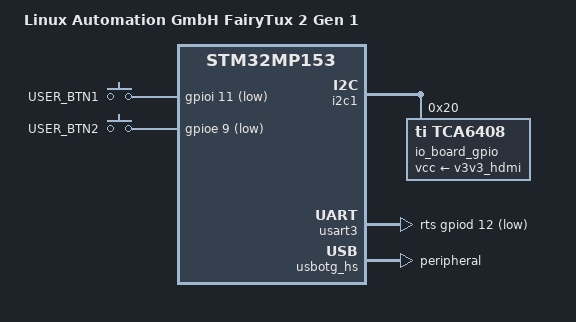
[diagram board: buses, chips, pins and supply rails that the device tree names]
// SPDX-License-Identifier: (GPL-2.0-or-later OR BSD-3-Clause)
/*
 * Copyright (C) 2024 Leonard Göhrs, Pengutronix
 */

/dts-v1/;

#include "stm32mp153c-lxa-fairytux2.dtsi"

/ {
	model = "Linux Automation GmbH FairyTux 2 Gen 1";
	compatible = "lxa,stm32mp153c-fairytux2-gen1", "oct,stm32mp153x-osd32", "st,stm32mp153";

	gpio-keys {
		compatible = "gpio-keys";

		button-left {
			label = "USER_BTN1";
			linux,code = <KEY_ESC>;
			gpios = <&gpioi 11 (GPIO_ACTIVE_LOW | GPIO_PULL_UP)>;
		};

		button-right {
			label = "USER_BTN2";
			linux,code = <KEY_HOME>;
			gpios = <&gpioe 9 (GPIO_ACTIVE_LOW | GPIO_PULL_UP)>;
		};
	};
};

&gpiof {
	gpio-line-names = "GPIO1", "GPIO2", "", "", "",			/*  0 */
			  "", "", "", "", "",				/*  5 */
			  "", "", "", "", "",				/* 10 */
			  "";						/* 15 */
};

&gpioh {
	gpio-line-names = "", "", "", "", "LCD_RESET",			/*  0 */
			  "", "", "", "", "",				/*  5 */
			  "", "", "", "GPIO3", "",			/* 10 */
			  "";						/* 15 */
};

&gpioi {
	gpio-line-names = "", "", "", "", "",				/*  0 */
			  "", "", "", "ETH_", "",			/*  5 */
			  "", "USER_BTN1";				/* 10 */
};

&i2c1 {
	pinctrl-names = "default", "sleep";
	pinctrl-0 = <&i2c1_pins_b>;
	pinctrl-1 = <&i2c1_sleep_pins_b>;
	status = "okay";

	io_board_gpio: gpio@20 {
		compatible = "ti,tca6408";
		reg = <0x20>;
		gpio-controller;
		#gpio-cells = <2>;
		vcc-supply = <&v3v3_hdmi>;
		gpio-line-names = "LED1_GA_YK", "LED2_GA_YK", "LED1_GK_YA", "LED2_GK_YA",
				  "RS485_EN", "RS485_120R", "", "CAN_120R";
	};
};

&led_controller_io {
	/*
	 * led-2 and led-3 are internally connected antiparallel to one
	 * another inside the ethernet jack like this:
	 * GPIO1 ---+---|led-2|>--+--- GPIO3
	 *          +--<|led-3|---+
	 * E.g. only one of the LEDs can be illuminated at a time while
	 * the other output must be driven low.
	 * This should likely be implemented using a multi color LED
	 * driver for antiparallel LEDs.
	 */
	led-2 {
		color = <LED_COLOR_ID_GREEN>;
		function = LED_FUNCTION_ACTIVITY;
		gpios = <&io_board_gpio 1 GPIO_ACTIVE_HIGH>;
	};

	led-3 {
		color = <LED_COLOR_ID_ORANGE>;
		function = LED_FUNCTION_ACTIVITY;
		gpios = <&io_board_gpio 3 GPIO_ACTIVE_HIGH>;
	};
};

&usart3 {
	/*
	 * On Gen 1 FairyTux 2 only RTS can be used and not CTS as well,
	 * Because pins PD11 (CTS) and PI11 (USER_BTN1) share the same
	 * interrupt and only one of them can be used at a time.
	 */
	rts-gpios = <&gpiod 12 GPIO_ACTIVE_LOW>;
};

&usbotg_hs {
	dr_mode = "peripheral";
};
